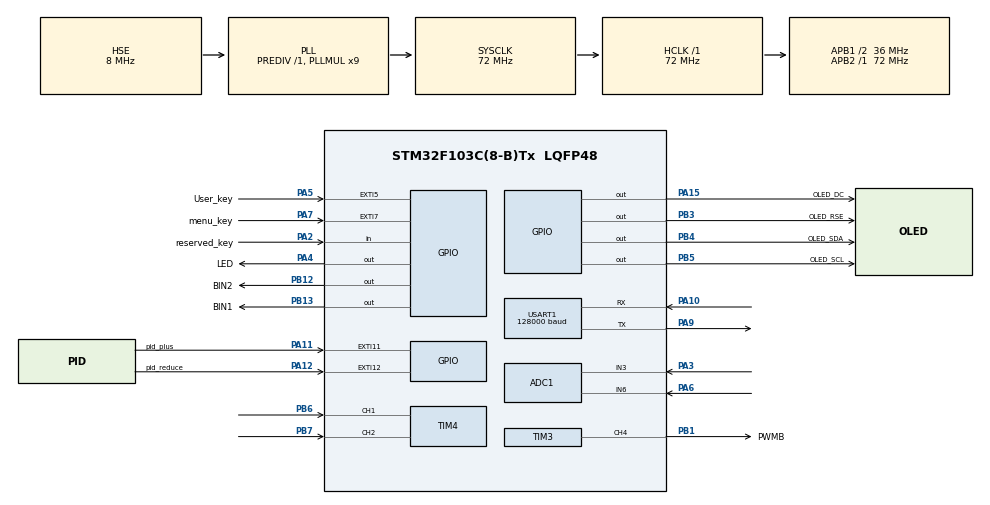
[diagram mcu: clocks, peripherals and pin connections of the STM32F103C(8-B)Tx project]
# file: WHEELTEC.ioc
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ADC1.Channel-2\#ChannelRegularConversion=ADC_CHANNEL_3
ADC1.ContinuousConvMode=DISABLE
ADC1.EnableRegularConversion=ENABLE
ADC1.NbrOfConversion=1
ADC1.NbrOfConversionFlag=1
ADC1.Rank-2\#ChannelRegularConversion=1
ADC1.SamplingTime-2\#ChannelRegularConversion=ADC_SAMPLETIME_1CYCLE_5
ADC1.master=1
Mcu.Family=STM32F1
Mcu.Name=STM32F103C(8-B)Tx
Mcu.Package=LQFP48
NVIC.EXTI15_10_IRQn=true\:2\:2\:true\:false\:true\:true\:true
NVIC.EXTI9_5_IRQn=true\:2\:2\:true\:false\:true\:true\:true
NVIC.PriorityGroup=NVIC_PRIORITYGROUP_2
NVIC.TIM1_UP_IRQn=true\:1\:3\:true\:false\:true\:true\:true
PA10.Mode=Asynchronous
PA10.Signal=USART1_RX
PA11.GPIO_Label=pid_plus
PA11.GPIO_ModeDefaultEXTI=GPIO_MODE_IT_FALLING
PA11.GPIO_PuPd=GPIO_PULLUP
PA11.Signal=GPXTI11
PA12.GPIO_Label=pid_reduce
PA12.GPIO_ModeDefaultEXTI=GPIO_MODE_IT_FALLING
PA12.GPIO_PuPd=GPIO_PULLUP
PA12.Signal=GPXTI12
PA13.Mode=Serial_Wire
PA13.Signal=SYS_JTMS-SWDIO
PA14.Mode=Serial_Wire
PA14.Signal=SYS_JTCK-SWCLK
PA15.GPIO_Label=OLED_DC
PA15.GPIO_Speed=GPIO_SPEED_FREQ_HIGH
PA15.Signal=GPIO_Output
PA2.GPIO_Label=reserved_key
PA2.GPIO_Mode=GPIO_MODE_INPUT
PA2.GPIO_PuPd=GPIO_PULLUP
PA2.Signal=GPIO_Input
PA3.Signal=ADCx_IN3
PA4.GPIO_Label=LED
PA4.GPIO_ModeDefaultOutputPP=GPIO_MODE_OUTPUT_PP
PA4.GPIO_PuPd=GPIO_PULLUP
PA4.GPIO_Speed=GPIO_SPEED_FREQ_HIGH
PA4.PinState=GPIO_PIN_SET
PA4.Signal=GPIO_Output
PA5.GPIO_Label=User_key
PA5.GPIO_ModeDefaultEXTI=GPIO_MODE_IT_FALLING
PA5.GPIO_PuPd=GPIO_PULLUP
PA5.Signal=GPXTI5
PA6.Signal=ADCx_IN6
PA7.GPIO_Label=menu_key
PA7.GPIO_ModeDefaultEXTI=GPIO_MODE_IT_FALLING
PA7.GPIO_PuPd=GPIO_PULLUP
PA7.Signal=GPXTI7
PA9.Mode=Asynchronous
PA9.Signal=USART1_TX
PB1.GPIO_Label=PWMB
PB1.GPIO_Speed=GPIO_SPEED_FREQ_HIGH
PB1.Signal=S_TIM3_CH4
PB12.GPIO_Label=BIN2
PB12.GPIO_Speed=GPIO_SPEED_FREQ_HIGH
PB12.Signal=GPIO_Output
PB13.GPIO_Label=BIN1
PB13.GPIO_Speed=GPIO_SPEED_FREQ_HIGH
PB13.Signal=GPIO_Output
PB3.GPIO_Label=OLED_RSE
PB3.GPIO_Speed=GPIO_SPEED_FREQ_HIGH
PB3.Signal=GPIO_Output
PB4.GPIO_Label=OLED_SDA
PB4.GPIO_Speed=GPIO_SPEED_FREQ_HIGH
PB4.Signal=GPIO_Output
PB5.GPIO_Label=OLED_SCL
PB5.Signal=GPIO_Output
PB6.Signal=S_TIM4_CH1
PB7.Signal=S_TIM4_CH2
PD0-OSC_IN.Mode=HSE-External-Oscillator
PD0-OSC_IN.Signal=RCC_OSC_IN
PD1-OSC_OUT.Mode=HSE-External-Oscillator
PD1-OSC_OUT.Signal=RCC_OSC_OUT
ProjectManager.HeapSize=0x200
ProjectManager.StackSize=0x400
ProjectManager.TargetToolchain=MDK-ARM V5.32
RCC.ADCPresc=RCC_ADCPCLK2_DIV6
RCC.AHBFreq_Value=72000000
RCC.APB1CLKDivider=RCC_HCLK_DIV2
RCC.APB1Freq_Value=36000000
RCC.APB1TimFreq_Value=72000000
RCC.APB2Freq_Value=72000000
RCC.APB2TimFreq_Value=72000000
RCC.HCLKFreq_Value=72000000
RCC.PLLMUL=RCC_PLL_MUL9
RCC.PLLSourceVirtual=RCC_PLLSOURCE_HSE
RCC.SYSCLKFreq_VALUE=72000000
RCC.SYSCLKSource=RCC_SYSCLKSOURCE_PLLCLK
RCC.TimSys_Div=SYSTICK_CLKSOURCE_HCLK_DIV8
RCC.USBFreq_Value=72000000
SH.ADCx_IN3.0=ADC1_IN3,IN3
SH.ADCx_IN6.0=ADC1_IN6,IN6
SH.S_TIM3_CH4.0=TIM3_CH4,PWM Generation4 CH4
SH.S_TIM4_CH1.0=TIM4_CH1,Encoder_Interface
SH.S_TIM4_CH2.0=TIM4_CH2,Encoder_Interface
TIM1.Period=49
TIM1.Prescaler=7199
TIM3.Channel-PWM\ Generation4\ CH4=TIM_CHANNEL_4
TIM3.Period=7199
TIM4.EncoderMode=TIM_ENCODERMODE_TI12
TIM4.IC1Filter=10
TIM4.IC2Filter=10
USART1.BaudRate=128000
USART1.VirtualMode=VM_ASYNC
VP_TIM1_VS_ClockSourceINT.Mode=Internal
VP_TIM3_VS_ClockSourceINT.Mode=Internal
board=custom

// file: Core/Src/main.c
/* USER CODE BEGIN Header */
/**
  ******************************************************************************
  * @file           : main.c
  * @brief          : Main program body
  ******************************************************************************
  * @attention
  *
  * <h2><center>&copy; Copyright (c) 2021 STMicroelectronics.
  * All rights reserved.</center></h2>
  *
  * This software component is licensed by ST under BSD 3-Clause license,
  * the "License"; You may not use this file except in compliance with the
  * License. You may obtain a copy of the License at:
  *                        opensource.org/licenses/BSD-3-Clause
  *
  ******************************************************************************
  */
/* USER CODE END Header */
#include "main.h"
#include "adc.h"
#include "tim.h"
#include "usart.h"
#include "gpio.h"

/* USER CODE BEGIN PV */
u8 Flag_Stop=1;                             //电机停止标志位
volatile u8 delay_50,delay_flag;            // 50ms精准演示标志位
u8 system_start=0;                          //检测调节函数标志位
u8 tips_flag = 0;                           //OLED提示函数标志位
int Encoder,Position_Zero=10000;            //编码器的脉冲计数
int Moto;                                   //电机PWM变量 应是Motor的 向Moto致敬
int Voltage;                                //电池电压采样相关的变量
float Angle_Balance;                        //角位移传感器数据
float Balance_KP=400,Balance_KD=400,Position_KP=20,Position_KD=300;  //PID系数
float Menu=1,Amplitude1=5,Amplitude2=20,Amplitude3=1,Amplitude4=10; //PID调试相关参数
extern float D_Angle_Balance; //摆杆角度变化率
/* USER CODE END PV */

void SystemClock_Config(void);
/* USER CODE BEGIN PFP */
void JTAG_Set(u8 mode);
/* USER CODE END PFP */

int main(void)
{

  /* MCU Configuration--------------------------------------------------------*/

  /* Reset of all peripherals, Initializes the Flash interface and the Systick. */
  HAL_Init();

  /* Configure the system clock */
  SystemClock_Config();

  /* USER CODE BEGIN SysInit */
  JTAG_Set(JTAG_SWD_DISABLE);                     //关闭JTAG接口，才能开启OLED显示
	JTAG_Set(SWD_ENABLE);                           //开启SWD调试接口
	HAL_Delay(1000);                 //=====延时启动，等待系统稳定
	HAL_Delay(1000);                 //=====延时启动，等待系统稳定 共2s
  /* USER CODE END SysInit */

  /* Initialize all configured peripherals */
  MX_GPIO_Init();
  MX_TIM3_Init();
  MX_TIM4_Init();
  MX_USART1_UART_Init();
  MX_ADC1_Init();
  MX_TIM1_Init();
  /* USER CODE BEGIN 2 */
  OLED_Init();
  /* USER CODE END 2 */

  /* Infinite loop */
  while (1)
  {

    /* USER CODE BEGIN 3 */
		DataScope();	            //===上位机
		Tips();                   //===OLED显示与提示
		delay_flag=1;	            //===50ms中断精准延时标志位
		while(delay_flag);        //===50ms中断精准延时  主要是波形显示上位机需要严格的50ms传输周期
  }
  /* USER CODE END 3 */
}

void SystemClock_Config(void)
{
  RCC_OscInitTypeDef RCC_OscInitStruct = {0};
  RCC_ClkInitTypeDef RCC_ClkInitStruct = {0};
  RCC_PeriphCLKInitTypeDef PeriphClkInit = {0};

  /** Initializes the RCC Oscillators according to the specified parameters
  * in the RCC_OscInitTypeDef structure.
  */
  RCC_OscInitStruct.OscillatorType = RCC_OSCILLATORTYPE_HSE;
  RCC_OscInitStruct.HSEState = RCC_HSE_ON;
  RCC_OscInitStruct.HSEPredivValue = RCC_HSE_PREDIV_DIV1;
  RCC_OscInitStruct.HSIState = RCC_HSI_ON;
  RCC_OscInitStruct.PLL.PLLState = RCC_PLL_ON;
  RCC_OscInitStruct.PLL.PLLSource = RCC_PLLSOURCE_HSE;
  RCC_OscInitStruct.PLL.PLLMUL = RCC_PLL_MUL9;
  if (HAL_RCC_OscConfig(&RCC_OscInitStruct) != HAL_OK)
  {
    Error_Handler();
  }
  /** Initializes the CPU, AHB and APB buses clocks
  */
  RCC_ClkInitStruct.ClockType = RCC_CLOCKTYPE_HCLK|RCC_CLOCKTYPE_SYSCLK
                              |RCC_CLOCKTYPE_PCLK1|RCC_CLOCKTYPE_PCLK2;
  RCC_ClkInitStruct.SYSCLKSource = RCC_SYSCLKSOURCE_PLLCLK;
  RCC_ClkInitStruct.AHBCLKDivider = RCC_SYSCLK_DIV1;
  RCC_ClkInitStruct.APB1CLKDivider = RCC_HCLK_DIV2;
  RCC_ClkInitStruct.APB2CLKDivider = RCC_HCLK_DIV1;

  if (HAL_RCC_ClockConfig(&RCC_ClkInitStruct, FLASH_LATENCY_2) != HAL_OK)
  {
    Error_Handler();
  }
  PeriphClkInit.PeriphClockSelection = RCC_PERIPHCLK_ADC;
  PeriphClkInit.AdcClockSelection = RCC_ADCPCLK2_DIV6;
  if (HAL_RCCEx_PeriphCLKConfig(&PeriphClkInit) != HAL_OK)
  {
    Error_Handler();
  }
}

/* USER CODE BEGIN 4 */
/**************************************************************************
Function: Set JTAG mode
Input   : mode:JTAG, swd mode settings；00，all enable；01，enable SWD；10，Full shutdown
Output  : none
函数功能：设置JTAG模式
入口参数：mode:jtag,swd模式设置;00,全使能;01,使能SWD;10,全关闭;
返回  值：无
**************************************************************************/
//#define JTAG_SWD_DISABLE   0X02
//#define SWD_ENABLE         0X01
//#define JTAG_SWD_ENABLE    0X00
void JTAG_Set(u8 mode)
{
	u32 temp;
	temp=mode;
	temp<<=25;
	RCC->APB2ENR|=1<<0;     //Turn on the auxiliary clock //开启辅助时钟
	AFIO->MAPR&=0XF8FFFFFF; //Clear MAPR [26:24] //清除MAPR的[26:24]
	AFIO->MAPR|=temp;       //Set the JTAG mode //设置jtag模式
}
/* USER CODE END 4 */

void Error_Handler(void)
{
  __disable_irq();
  while (1)
  {
  }
}

/************************ (C) COPYRIGHT STMicroelectronics *****END OF FILE****/
